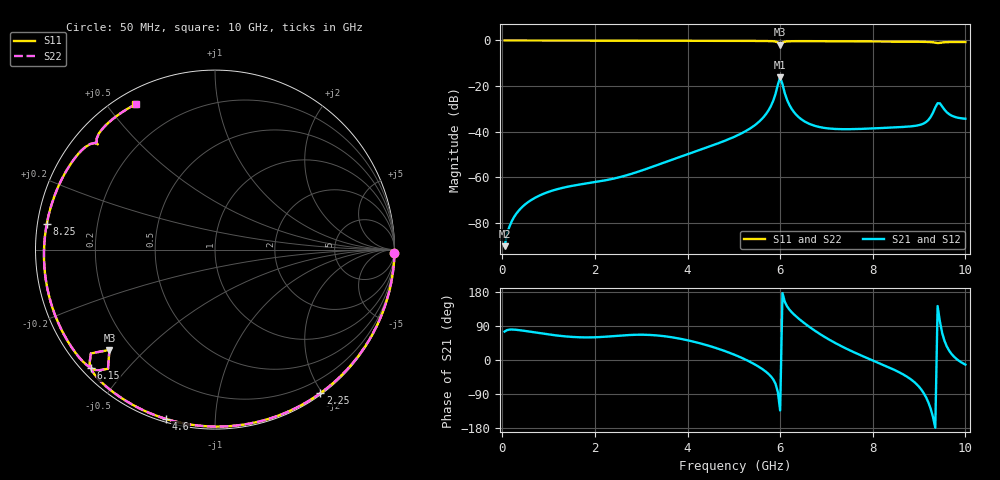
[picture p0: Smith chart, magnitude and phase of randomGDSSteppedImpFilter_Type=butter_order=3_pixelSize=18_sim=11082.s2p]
! freq	dB(S11)	phase(S11)	dB(S12)	phase(S12)
!  dB(S21)	phase(S21)	dB(S22)	phase(S22)
!S-par simulation data
#  GHz  S  DB  R 50
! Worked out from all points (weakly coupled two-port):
!   200 points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, 50 MHz to 10 GHz, reference 50 ohm
!   highest |S21| = -16.24 dB at 6 GHz (marker M1); lowest = -90.3 dB at 50 MHz (marker M2)
!   lowest |S11| = -1.8 dB at 6 GHz (marker M3), VSWR 9.61, Z = 6.02 - j19.7 ohm
!   |S11| at or under -10 dB: nowhere
!   |S22| runs from -1.8 to 0.0 dB; largest |S21 - S12| = 0
!   S11 on the Smith chart (normalised r, x): 50 MHz: 0, -93; 2.25 GHz: 0.02, -1.97; 4.6 GHz: 0.01, -0.75; 6.15 GHz: 0.03, -0.40; 8.25 GHz: 0.03, +0.08; 10 GHz: 0.05, +0.59
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0.05  -0.00 -1.2  -90.31 75.0  -90.31 75.0  -0.00 -1.2
0.2  -0.00 -4.9  -79.53 80.5  -79.53 80.5  -0.00 -4.9
0.4  -0.01 -9.8  -73.70 78.2  -73.70 78.2  -0.01 -9.8
0.75  -0.02 -18.3  -68.60 71.8  -68.60 71.8  -0.02 -18.3
1.75  -0.05 -42.1  -62.98 59.7  -62.98 59.7  -0.05 -42.1
2.25  -0.07 -53.8  -61.30 61.6  -61.30 61.6  -0.07 -53.8
3.4  -0.10 -79.8  -54.29 64.1  -54.29 64.1  -0.10 -79.8
4.6  -0.15 -106.1  -45.62 32.2  -45.62 32.2  -0.15 -106.1
5.05  -0.18 -115.9  -41.92 12.1  -41.92 12.1  -0.18 -115.9
5.7  -0.25 -130.9  -32.15 -31.6  -32.15 -31.6  -0.25 -130.9
5.85  -0.34 -135.5  -26.50 -51.1  -26.50 -51.1  -0.35 -135.5
6  -1.81 -136.5  -16.24 -133.2  -16.24 -133.2  -1.82 -136.5
6.15  -0.39 -136.3  -26.11 141.5  -26.11 141.5  -0.39 -136.3
6.35  -0.30 -142.2  -32.67 114.4  -32.67 114.4  -0.30 -142.3
6.7  -0.30 -150.7  -37.16 81.4  -37.16 81.4  -0.30 -150.7
8.25  -0.46 171.4  -38.38 -14.2  -38.38 -14.2  -0.46 171.3
8.35  -0.47 168.7  -38.29 -19.6  -38.29 -19.6  -0.47 168.6
9.1  -0.61 146.8  -36.45 -87.4  -36.45 -87.4  -0.61 146.7
9.25  -0.71 141.7  -33.60 -128.6  -33.60 -128.6  -0.71 141.6
9.4  -1.13 138.1  -27.55 142.3  -27.55 142.3  -1.14 137.9
9.7  -0.69 129.7  -32.97 16.1  -32.97 16.1  -0.69 129.5
10  -0.70 118.8  -34.37 -12.2  -34.37 -12.2  -0.70 118.6
